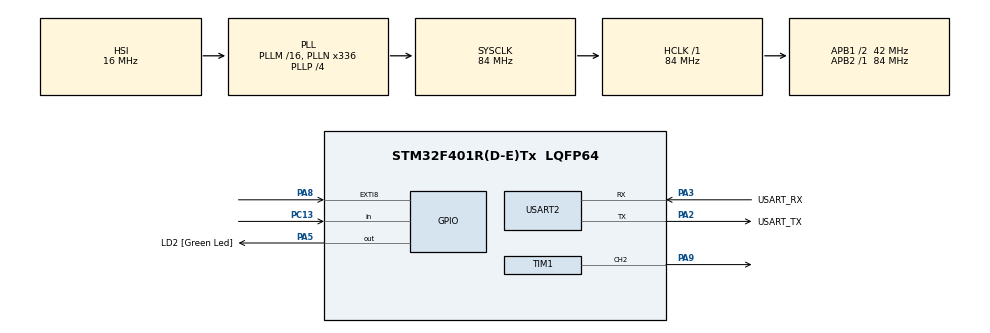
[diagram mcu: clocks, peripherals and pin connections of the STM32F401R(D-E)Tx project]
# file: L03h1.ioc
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Mcu.Family=STM32F4
Mcu.Name=STM32F401R(D-E)Tx
Mcu.Package=LQFP64
NVIC.EXTI9_5_IRQn=true\:1\:0\:true\:false\:true\:true\:true\:true
NVIC.PriorityGroup=NVIC_PRIORITYGROUP_1
PA13.GPIO_Label=TMS
PA13.Mode=Serial_Wire
PA13.Signal=SYS_JTMS-SWDIO
PA14.GPIO_Label=TCK
PA14.Mode=Serial_Wire
PA14.Signal=SYS_JTCK-SWCLK
PA2.GPIO_Label=USART_TX
PA2.GPIO_Mode=GPIO_MODE_AF_PP
PA2.GPIO_PuPd=GPIO_NOPULL
PA2.GPIO_Speed=GPIO_SPEED_FREQ_LOW
PA2.Mode=Asynchronous
PA2.Signal=USART2_TX
PA3.GPIO_Label=USART_RX
PA3.GPIO_Mode=GPIO_MODE_AF_PP
PA3.GPIO_PuPd=GPIO_NOPULL
PA3.GPIO_Speed=GPIO_SPEED_FREQ_LOW
PA3.Mode=Asynchronous
PA3.Signal=USART2_RX
PA5.GPIO_Label=LD2 [Green Led]
PA5.GPIO_Mode=GPIO_MODE_OUTPUT_PP
PA5.GPIO_PuPd=GPIO_NOPULL
PA5.GPIO_Speed=GPIO_SPEED_FREQ_LOW
PA5.Signal=GPIO_Output
PA8.Signal=GPXTI8
PA9.Signal=S_TIM1_CH2
PB3.GPIO_Label=SWO
PB3.Signal=SYS_JTDO-SWO
PC13-ANTI_TAMP.Signal=GPIO_Input
PC14-OSC32_IN.Mode=LSE-External-Oscillator
PC14-OSC32_IN.Signal=RCC_OSC32_IN
PC15-OSC32_OUT.Mode=LSE-External-Oscillator
PC15-OSC32_OUT.Signal=RCC_OSC32_OUT
PH0\ -\ OSC_IN.Mode=HSE-External-Clock-Source
PH0\ -\ OSC_IN.Signal=RCC_OSC_IN
PH1\ -\ OSC_OUT.Mode=HSE-External-Clock-Source
PH1\ -\ OSC_OUT.Signal=RCC_OSC_OUT
ProjectManager.HeapSize=0x200
ProjectManager.StackSize=0x400
ProjectManager.TargetToolchain=STM32CubeIDE
RCC.48MHZClocksFreq_Value=48000000
RCC.AHBFreq_Value=84000000
RCC.APB1CLKDivider=RCC_HCLK_DIV2
RCC.APB1Freq_Value=42000000
RCC.APB1TimFreq_Value=84000000
RCC.APB2Freq_Value=84000000
RCC.APB2TimFreq_Value=84000000
RCC.CortexFreq_Value=84000000
RCC.HCLKFreq_Value=84000000
RCC.HSE_VALUE=8000000
RCC.HSI_VALUE=16000000
RCC.PLLN=336
RCC.PLLP=RCC_PLLP_DIV4
RCC.PLLQ=7
RCC.SYSCLKFreq_VALUE=84000000
RCC.SYSCLKSource=RCC_SYSCLKSOURCE_PLLCLK
RCC.VCOOutputFreq_Value=336000000
SH.S_TIM1_CH2.0=TIM1_CH2,PWM Generation2 CH2
TIM1.Channel-PWM\ Generation2\ CH2=TIM_CHANNEL_2
TIM1.Period=1909
TIM1.Prescaler=99
TIM1.Pulse-PWM\ Generation2\ CH2=954
USART2.VirtualMode=VM_ASYNC
VP_TIM1_VS_ClockSourceINT.Mode=Internal
board=NUCLEO-F401RE

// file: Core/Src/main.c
/* USER CODE BEGIN Header */
/**
  ******************************************************************************
  * @file           : main.c
  * @brief          : Main program body
  ******************************************************************************
  * @attention
  *
  * Copyright (c) 2024 STMicroelectronics.
  * All rights reserved.
  *
  * This software is licensed under terms that can be found in the LICENSE file
  * in the root directory of this software component.
  * If no LICENSE file comes with this software, it is provided AS-IS.
  *
  ******************************************************************************
  */
/* USER CODE END Header */
#include "main.h"

/* USER CODE BEGIN PTD */
typedef struct note {
	int period; // value to be used in ARR and Pulse (/2) to achieve desired frequency
	int dur; // duration in ms
} note;
/* USER CODE END PTD */

/* USER CODE BEGIN PD */
#define _DO4 3205
#define _DOD4 3031
#define _RE4 2856
#define _RED4 2699
#define _MI4 2544
#define _FA4 2405
#define _FAD4 2269
#define _SOL4 2141
#define _SOLD4 2023
#define _LA4 1908
#define _LAD4 1801
#define _SI4 1699

#define BASE 75
/* USER CODE END PD */

TIM_HandleTypeDef htim1;

UART_HandleTypeDef huart2;

/* USER CODE BEGIN PV */
note score[] = {
		{_SOL4, 6},
		{_LA4, 2},
		{_SOL4, 4},
		{_FA4, 4},
		{_MI4, 4},
		{_FA4, 4},
		{_SOL4, 8},
		{_RE4, 4},
		{_MI4, 4},
		{_FA4, 8},
		{_MI4, 4},
		{_FA4, 4},
		{_SOL4, 8},
		{_SOL4, 6},
		{_LA4, 2},
		{_SOL4, 4},
		{_FA4, 4},
		{_MI4, 4},
		{_FA4, 4},
		{_SOL4, 8},
		{_RE4, 8},
		{_SOL4, 8},
		{_MI4, 4},
		{_DO4, 12},
};
//int listening = 1; // while the song is playing, this value is 0 and new microphone interrupts shouldn't do anything
int score_len = sizeof(score)/sizeof(score[0]);
/* USER CODE END PV */

void SystemClock_Config(void);
static void MX_GPIO_Init(void);
static void MX_USART2_UART_Init(void);
static void MX_TIM1_Init(void);

/* USER CODE BEGIN 0 */
void play_note(note n) {

	htim1.Instance->ARR = n.period;
	htim1.Instance->CCR2 = n.period/2;
	htim1.Instance->CNT = 0;

	HAL_TIM_PWM_Start(&htim1, TIM_CHANNEL_2);
	HAL_Delay(n.dur * BASE);
	HAL_TIM_PWM_Stop(&htim1, TIM_CHANNEL_2);
}

void play_song(){
	for(int i=0; i < score_len; i++) {
		play_note(score[i]);
	}
}

void HAL_GPIO_EXTI_Callback(uint16_t GPIO_Pin) {
	/*if (GPIO_Pin == GPIO_PIN_8) {
			listening = 0; // this prevents the song from playing again if we snap our fingers while the song is playing
	}*/
	// If we want to avoid using polling, we can use the solution below.
	// However, it queues multiple instances of the song if we snap our fingers while it's playing (still doesn't start from scratch in the middle)

	if (GPIO_Pin == GPIO_PIN_8) {
		play_song();
		HAL_Delay(2);
		__HAL_GPIO_EXTI_CLEAR_IT(GPIO_Pin);
	}
}
/* USER CODE END 0 */

int main(void)
{

  /* MCU Configuration--------------------------------------------------------*/

  /* Reset of all peripherals, Initializes the Flash interface and the Systick. */
  HAL_Init();

  /* Configure the system clock */
  SystemClock_Config();

  /* Initialize all configured peripherals */
  MX_GPIO_Init();
  MX_USART2_UART_Init();
  MX_TIM1_Init();

  /* Infinite loop */
  while (1)
  {

    /* USER CODE BEGIN 3 */
/*
	if (listening == 0) {
	  play_song();
	  listening = 1;
	}*/
  }
  /* USER CODE END 3 */
}

void SystemClock_Config(void)
{
  RCC_OscInitTypeDef RCC_OscInitStruct = {0};
  RCC_ClkInitTypeDef RCC_ClkInitStruct = {0};

  /** Configure the main internal regulator output voltage
  */
  __HAL_RCC_PWR_CLK_ENABLE();
  __HAL_PWR_VOLTAGESCALING_CONFIG(PWR_REGULATOR_VOLTAGE_SCALE2);

  /** Initializes the RCC Oscillators according to the specified parameters
  * in the RCC_OscInitTypeDef structure.
  */
  RCC_OscInitStruct.OscillatorType = RCC_OSCILLATORTYPE_HSI;
  RCC_OscInitStruct.HSIState = RCC_HSI_ON;
  RCC_OscInitStruct.HSICalibrationValue = RCC_HSICALIBRATION_DEFAULT;
  RCC_OscInitStruct.PLL.PLLState = RCC_PLL_ON;
  RCC_OscInitStruct.PLL.PLLSource = RCC_PLLSOURCE_HSI;
  RCC_OscInitStruct.PLL.PLLM = 16;
  RCC_OscInitStruct.PLL.PLLN = 336;
  RCC_OscInitStruct.PLL.PLLP = RCC_PLLP_DIV4;
  RCC_OscInitStruct.PLL.PLLQ = 7;
  if (HAL_RCC_OscConfig(&RCC_OscInitStruct) != HAL_OK)
  {
    Error_Handler();
  }

  /** Initializes the CPU, AHB and APB buses clocks
  */
  RCC_ClkInitStruct.ClockType = RCC_CLOCKTYPE_HCLK|RCC_CLOCKTYPE_SYSCLK
                              |RCC_CLOCKTYPE_PCLK1|RCC_CLOCKTYPE_PCLK2;
  RCC_ClkInitStruct.SYSCLKSource = RCC_SYSCLKSOURCE_PLLCLK;
  RCC_ClkInitStruct.AHBCLKDivider = RCC_SYSCLK_DIV1;
  RCC_ClkInitStruct.APB1CLKDivider = RCC_HCLK_DIV2;
  RCC_ClkInitStruct.APB2CLKDivider = RCC_HCLK_DIV1;

  if (HAL_RCC_ClockConfig(&RCC_ClkInitStruct, FLASH_LATENCY_2) != HAL_OK)
  {
    Error_Handler();
  }
}

static void MX_TIM1_Init(void)
{

  TIM_ClockConfigTypeDef sClockSourceConfig = {0};
  TIM_MasterConfigTypeDef sMasterConfig = {0};
  TIM_OC_InitTypeDef sConfigOC = {0};
  TIM_BreakDeadTimeConfigTypeDef sBreakDeadTimeConfig = {0};

  htim1.Instance = TIM1;
  htim1.Init.Prescaler = 99;
  htim1.Init.CounterMode = TIM_COUNTERMODE_UP;
  htim1.Init.Period = 1909;
  htim1.Init.ClockDivision = TIM_CLOCKDIVISION_DIV1;
  htim1.Init.RepetitionCounter = 0;
  htim1.Init.AutoReloadPreload = TIM_AUTORELOAD_PRELOAD_DISABLE;
  if (HAL_TIM_Base_Init(&htim1) != HAL_OK)
  {
    Error_Handler();
  }
  sClockSourceConfig.ClockSource = TIM_CLOCKSOURCE_INTERNAL;
  if (HAL_TIM_ConfigClockSource(&htim1, &sClockSourceConfig) != HAL_OK)
  {
    Error_Handler();
  }
  if (HAL_TIM_PWM_Init(&htim1) != HAL_OK)
  {
    Error_Handler();
  }
  sMasterConfig.MasterOutputTrigger = TIM_TRGO_RESET;
  sMasterConfig.MasterSlaveMode = TIM_MASTERSLAVEMODE_DISABLE;
  if (HAL_TIMEx_MasterConfigSynchronization(&htim1, &sMasterConfig) != HAL_OK)
  {
    Error_Handler();
  }
  sConfigOC.OCMode = TIM_OCMODE_PWM1;
  sConfigOC.Pulse = 954;
  sConfigOC.OCPolarity = TIM_OCPOLARITY_HIGH;
  sConfigOC.OCNPolarity = TIM_OCNPOLARITY_HIGH;
  sConfigOC.OCFastMode = TIM_OCFAST_DISABLE;
  sConfigOC.OCIdleState = TIM_OCIDLESTATE_RESET;
  sConfigOC.OCNIdleState = TIM_OCNIDLESTATE_RESET;
  if (HAL_TIM_PWM_ConfigChannel(&htim1, &sConfigOC, TIM_CHANNEL_2) != HAL_OK)
  {
    Error_Handler();
  }
  sBreakDeadTimeConfig.OffStateRunMode = TIM_OSSR_DISABLE;
  sBreakDeadTimeConfig.OffStateIDLEMode = TIM_OSSI_DISABLE;
  sBreakDeadTimeConfig.LockLevel = TIM_LOCKLEVEL_OFF;
  sBreakDeadTimeConfig.DeadTime = 0;
  sBreakDeadTimeConfig.BreakState = TIM_BREAK_DISABLE;
  sBreakDeadTimeConfig.BreakPolarity = TIM_BREAKPOLARITY_HIGH;
  sBreakDeadTimeConfig.AutomaticOutput = TIM_AUTOMATICOUTPUT_DISABLE;
  if (HAL_TIMEx_ConfigBreakDeadTime(&htim1, &sBreakDeadTimeConfig) != HAL_OK)
  {
    Error_Handler();
  }
  HAL_TIM_MspPostInit(&htim1);

}

static void MX_USART2_UART_Init(void)
{

  huart2.Instance = USART2;
  huart2.Init.BaudRate = 115200;
  huart2.Init.WordLength = UART_WORDLENGTH_8B;
  huart2.Init.StopBits = UART_STOPBITS_1;
  huart2.Init.Parity = UART_PARITY_NONE;
  huart2.Init.Mode = UART_MODE_TX_RX;
  huart2.Init.HwFlowCtl = UART_HWCONTROL_NONE;
  huart2.Init.OverSampling = UART_OVERSAMPLING_16;
  if (HAL_UART_Init(&huart2) != HAL_OK)
  {
    Error_Handler();
  }

}

static void MX_GPIO_Init(void)
{
  GPIO_InitTypeDef GPIO_InitStruct = {0};

  /* GPIO Ports Clock Enable */
  __HAL_RCC_GPIOC_CLK_ENABLE();
  __HAL_RCC_GPIOH_CLK_ENABLE();
  __HAL_RCC_GPIOA_CLK_ENABLE();
  __HAL_RCC_GPIOB_CLK_ENABLE();

  /*Configure GPIO pin Output Level */
  HAL_GPIO_WritePin(LD2_GPIO_Port, LD2_Pin, GPIO_PIN_RESET);

  /*Configure GPIO pin : PC13 */
  GPIO_InitStruct.Pin = GPIO_PIN_13;
  GPIO_InitStruct.Mode = GPIO_MODE_INPUT;
  GPIO_InitStruct.Pull = GPIO_NOPULL;
  HAL_GPIO_Init(GPIOC, &GPIO_InitStruct);

  /*Configure GPIO pin : LD2_Pin */
  GPIO_InitStruct.Pin = LD2_Pin;
  GPIO_InitStruct.Mode = GPIO_MODE_OUTPUT_PP;
  GPIO_InitStruct.Pull = GPIO_NOPULL;
  GPIO_InitStruct.Speed = GPIO_SPEED_FREQ_LOW;
  HAL_GPIO_Init(LD2_GPIO_Port, &GPIO_InitStruct);

  /*Configure GPIO pin : PA8 */
  GPIO_InitStruct.Pin = GPIO_PIN_8;
  GPIO_InitStruct.Mode = GPIO_MODE_IT_RISING;
  GPIO_InitStruct.Pull = GPIO_NOPULL;
  HAL_GPIO_Init(GPIOA, &GPIO_InitStruct);

  /* EXTI interrupt init*/
  HAL_NVIC_SetPriority(EXTI9_5_IRQn, 1, 0);
  HAL_NVIC_EnableIRQ(EXTI9_5_IRQn);

}

void Error_Handler(void)
{
  __disable_irq();
  while (1)
  {
  }
}
